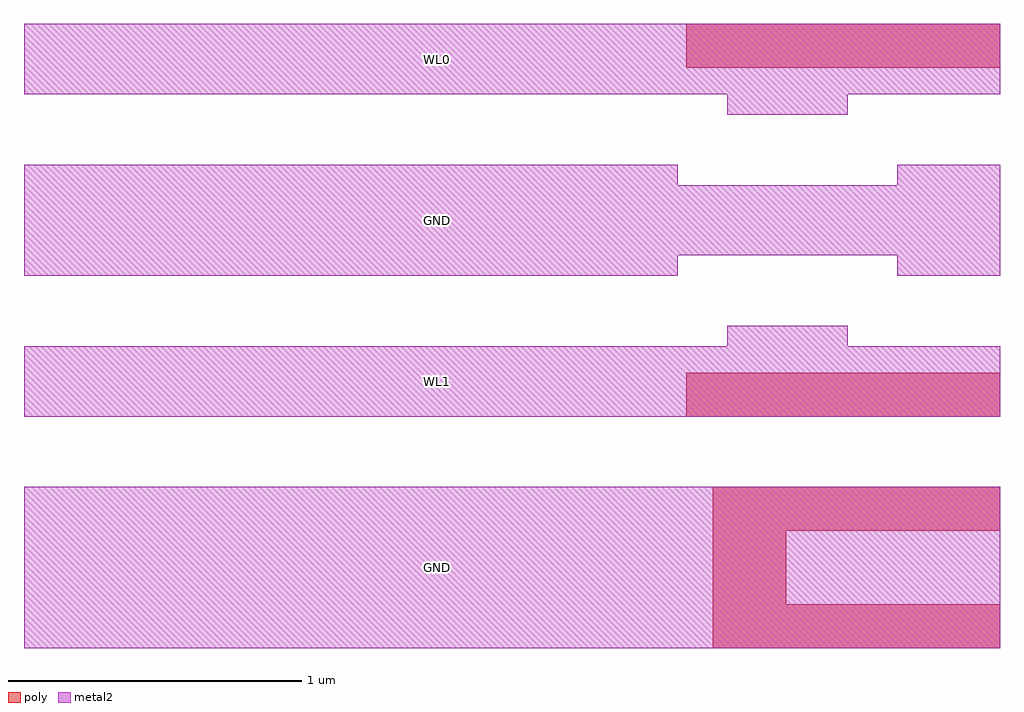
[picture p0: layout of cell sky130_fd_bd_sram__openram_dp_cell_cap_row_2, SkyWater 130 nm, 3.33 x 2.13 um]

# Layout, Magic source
magic
tech sky130A
magscale 1 2
<< poly >>
rect 410 341 624 371
rect 410 103 624 133
rect 428 25 624 55
rect 428 -25 478 25
rect 428 -55 624 -25
<< metal2 >>
rect -42 323 624 371
rect 438 309 520 323
rect -42 261 404 275
rect 554 261 624 275
rect -42 213 624 261
rect -42 199 404 213
rect 554 199 624 213
rect 438 151 520 165
rect -42 103 624 151
rect -42 -55 624 55
<< labels >>
rlabel metal2 s 186 199 294 275 4 GND
rlabel metal2 s 186 -55 294 55 4 GND
rlabel metal2 s 0 323 480 371 4 WL0
rlabel metal2 s 0 103 480 151 4 WL1
rlabel metal2 s 240 347 240 347 4 wl0
port 1 nsew
rlabel metal2 s 240 127 240 127 4 wl1
port 2 nsew
rlabel metal2 s 225 222 256 256 4 gnd
port 3 nsew
rlabel metal2 s 224 -14 255 19 4 gnd
port 3 nsew
<< properties >>
string FIXED_BBOX 0 0 624 395
string GDS_FILE $PDKPATH/libs.ref/sky130_sram_macros/gds/sky130_sram_1kbyte_1rw1r_8x1024_8.gds
string GDS_END 226334
string GDS_START 221386
<< end >>
